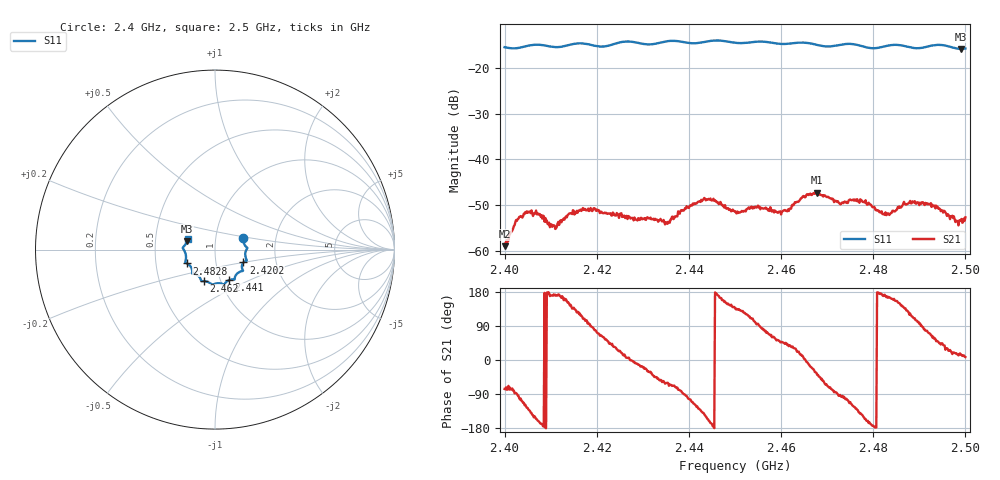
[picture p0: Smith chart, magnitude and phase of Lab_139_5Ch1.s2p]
# Hz S RI R 50
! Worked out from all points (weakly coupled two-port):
!   601 points, 2.4 GHz to 2.5 GHz, reference 50 ohm
!   highest |S21| = -47.30 dB at 2.4678 GHz (marker M1); lowest = -59.0 dB at 2.4 GHz (marker M2)
!   lowest |S11| = -15.8 dB at 2.499 GHz (marker M3), VSWR 1.39, Z = 36.4 + j3.53 ohm
!   |S11| at or under -10 dB: start of sweep to end of sweep
!   S12 and S22 are empty: the file has one direction only
!   S11 on the Smith chart (normalised r, x): 2.4 GHz: 1.36, +0.17; 2.4202 GHz: 1.36, -0.20; 2.441 GHz: 1.10, -0.39; 2.462 GHz: 0.84, -0.30; 2.4828 GHz: 0.72, -0.11; 2.5 GHz: 0.73, +0.09
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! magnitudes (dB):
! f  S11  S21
! 2.4 GHz  -15.4  -59.0
! 2.4028 GHz  -15.6  -53.1
! 2.4047 GHz  -15.2  -51.7
! 2.4072 GHz  -14.9  -51.8
! 2.4108 GHz  -15.4  -54.5
! 2.4167 GHz  -14.6  -51.3
! 2.4202 GHz  -15.2  -51.2
! 2.4333 GHz  -14.5  -53.7
! 2.4353 GHz  -14.1  -54.1
! 2.441 GHz  -14.6  -49.9
! 2.4448 GHz  -14.0  -49.0
! 2.45 GHz  -14.4  -51.3
! 2.462 GHz  -14.6  -50.8
! 2.4667 GHz  -14.6  -47.8
! 2.4678 GHz  -14.9  -47.3
! 2.473 GHz  -14.9  -49.8
! 2.4778 GHz  -15.3  -49.4
! 2.4828 GHz  -15.1  -52.2
! 2.4833 GHz  -15.0  -51.9
! 2.4885 GHz  -15.5  -49.2
! 2.499 GHz  -15.8  -53.3
! 2.5 GHz  -15.7  -52.7
